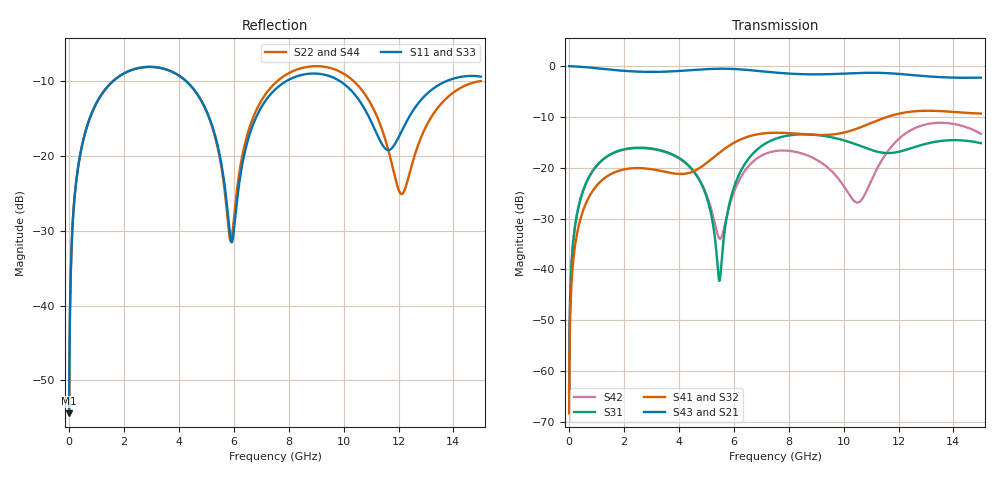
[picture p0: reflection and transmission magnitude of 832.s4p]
! Created with skrf 1.8.0 (http://scikit-rf.org).
# GHz S RI R 50.0
!freq ReS11 ImS11 ReS12 ImS12 ReS13 ImS13
! ReS14 ImS14
! ReS21 ImS21 ReS22 ImS22 ReS23 ImS23
! ReS24 ImS24
! ReS31 ImS31 ReS32 ImS32 ReS33 ImS33
! ReS34 ImS34
! ReS41 ImS41 ReS42 ImS42 ReS43 ImS43
! ReS44 ImS44
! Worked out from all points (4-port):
!   2499 points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, 5 MHz to 15 GHz, reference 50 ohm
!   strongest paths, dB at 5 MHz, 3.476 GHz, 7.19 GHz, 11.1 GHz, 15 GHz:
!     S43: 0.0, -1.1, -1.1, -1.3, -2.3
!     S21: 0.0, -1.1, -1.1, -1.3, -2.3
!     S41: -68.3, -20.8, -13.2, -11.0, -9.3
!     S32: -68.3, -20.8, -13.2, -11.0, -9.3
!     S31: -64.3, -16.8, -15.1, -16.6, -15.2
!     S42: -64.3, -16.9, -17.2, -21.5, -13.3
!   lowest |S11| = -54.4 dB at 5 MHz (marker M1), VSWR 1.00, Z = 50.2 + j0.116 ohm
!   |S11| at or under -10 dB: start of sweep to 1.609 GHz; 4.261 GHz to 7.919 GHz (3.657 GHz wide, 60.1 % of centre); 9.862 GHz to 13.75 GHz (3.89 GHz wide, 32.9 % of centre)
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0.005  0.00152 0.00115  0.9985 -0.00296  7.6e-05 0.000603  -7.38e-05 -0.000378
       0.9985 -0.00296  0.00152 0.00115  -7.38e-05 -0.000378  7.59e-05 0.000603
       7.6e-05 0.000603  -7.38e-05 -0.000378  0.00152 0.00116  0.9985 -0.00296
       -7.38e-05 -0.000378  7.59e-05 0.000603  0.9985 -0.00296  0.00152 0.00116
0.3126303  0.0211 0.0765  0.9712 -0.1846  0.0097 0.0361  -0.00799 -0.0224
           0.9712 -0.1846  0.0212 0.0765  -0.00799 -0.0224  0.00947 0.0361
           0.0097 0.0361  -0.00799 -0.0224  0.0211 0.0765  0.9712 -0.1846
           -0.00799 -0.0224  0.00947 0.0361  0.9712 -0.1846  0.0212 0.0765
1.569404  0.25 0.1858  0.591 -0.7044  0.122 0.065  -0.087 -0.0129
          0.591 -0.7044  0.251 0.1852  -0.0869 -0.013  0.1191 0.0685
          0.122 0.065  -0.0869 -0.013  0.25 0.1857  0.5911 -0.7044
          -0.087 -0.0129  0.1191 0.0685  0.5911 -0.7044  0.2509 0.1852
5.477282  0.0479 -0.0921  -0.8968 -0.2888  0.00768 -0.000656  -0.0382 0.1354
          -0.8968 -0.2888  0.0461 -0.0887  -0.0392 0.1351  -0.0191 -0.00667
          0.00768 -0.000656  -0.0392 0.1351  0.0485 -0.0917  -0.8968 -0.2889
          -0.0382 0.1354  -0.0191 -0.00667  -0.8968 -0.2889  0.0453 -0.0886
9.197582  0.3514 -0.0141  0.023 0.829  0.1115 -0.1749  0.2016 -0.059
          0.023 0.829  0.3913 -0.0606  0.2012 -0.0555  0.1118 -0.00117
          0.1115 -0.1749  0.2012 -0.0555  0.3502 -0.0179  0.0224 0.8298
          0.2016 -0.059  0.1118 -0.00117  0.0224 0.8298  0.3895 -0.0568
12.1113  0.1308 0.0648  0.8336 0.00527  -0.0686 0.1288  -0.0115 -0.3446
         0.8336 0.00527  0.0545 -0.0109  -0.00523 -0.3454  0.1178 0.1654
         -0.0686 0.1288  -0.00523 -0.3454  0.1252 0.0674  0.8338 0.00599
         -0.0115 -0.3446  0.1178 0.1654  0.8338 0.00599  0.0583 -0.0104
15  0.3351 -0.0485  0.1213 -0.7588  0.1464 -0.0953  -0.341 0.0201
    0.1213 -0.7588  0.3161 0.00659  -0.3409 0.0134  0.1857 -0.1101
    0.1464 -0.0953  -0.3409 0.0134  0.3315 -0.0444  0.1233 -0.7604
    -0.341 0.0201  0.1857 -0.1101  0.1233 -0.7604  0.3106 0.00383
